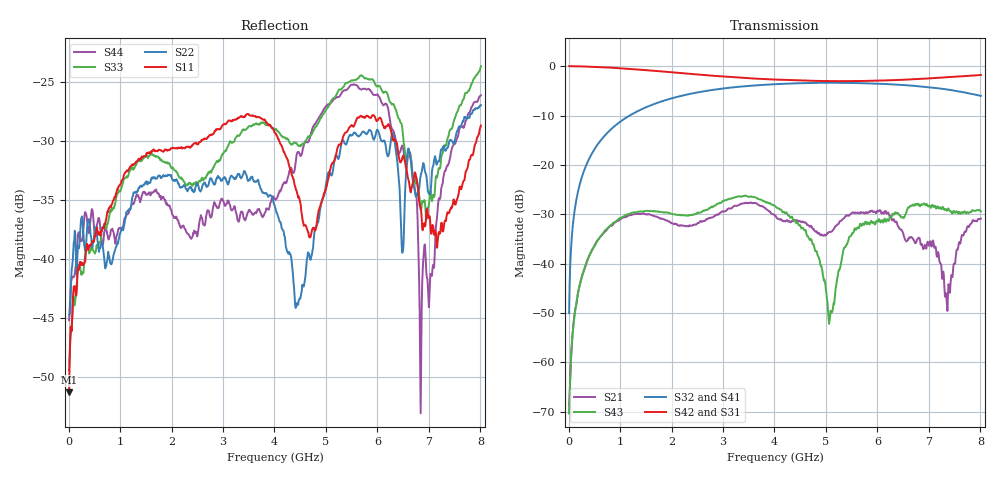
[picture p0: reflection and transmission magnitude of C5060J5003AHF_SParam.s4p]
! Port 1 = Pin 1 = Input
! Port 2 = Pin 3 = Isolated Port
! Port 3 = Pin 4 = Direct Port
! Port 4 = Pin 6 = Coupled Port
# MHZ S DB R 50
!FREQ(MHz)  !S11dB  !S11deg  !S12dB  !S12deg  !S13dB  !S13deg  !S14dB  !S14deg  !S21dB  !S21deg  !S22dB  !S22deg  !S23dB  !S23deg  !S24dB  !S24deg  !S31dB  !S31deg  !S32dB  !S32deg  !S33dB  !S33deg  !S34dB  !S34deg  !S41dB  !S41deg  !S42dB  !S42deg  !S43dB  !S43deg  !S44dB  !S44deg
!Freq  dBS11  angS11  dBS12  angS12  dBS13  angS13  dBS14  angS14
!  dBS21  angS21  dBS22  angS22  dBS23  angS23  dBS24  angS24
!  dBS31  angS31  dBS32  angS32  dBS33  angS33  dBS34  angS34
!  dBS41  angS41  dBS42  angS42  dBS43  angS43  dBS44  angS44
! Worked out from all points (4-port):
!   801 points, 10 MHz to 8.01 GHz, reference 50 ohm
!   strongest paths, dB at 10 MHz, 2.01 GHz, 4.01 GHz, 6.01 GHz, 8.01 GHz:
!     S42: 0.0, -1.2, -2.7, -2.9, -1.8
!     S31: 0.0, -1.3, -2.8, -3.0, -1.9
!     S32: -50.0, -6.5, -3.6, -3.5, -6.0
!     S41: -50.0, -6.5, -3.6, -3.6, -6.0
!     S43: -70.3, -29.9, -28.3, -31.5, -29.4
!     S21: -70.2, -31.8, -30.3, -29.3, -30.9
!   lowest |S11| = -51.3 dB at 10 MHz (marker M1), VSWR 1.01, Z = 50.3 + j0.0808 ohm
!   |S11| at or under -10 dB: start of sweep to end of sweep
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10  -51.26 17.1  -69.94 163.8  -0.01 -0.2  -50.04 84.5
    -70.19 168.0  -44.69 8.5  -50.07 84.2  0.01 -0.2
    -0.01 -0.3  -50.02 83.9  -49.39 21.4  -70.64 164.1
    -50.02 84.3  0.01 -0.2  -70.30 162.6  -45.15 11.4
300  -40.38 -1.2  -41.20 88.7  -0.08 -8.3  -21.18 80.7
     -41.34 88.6  -38.62 14.3  -21.18 80.7  -0.06 -8.3
     -0.08 -8.3  -21.17 80.7  -40.40 -3.8  -41.01 90.7
     -21.17 80.7  -0.06 -8.3  -41.20 90.2  -36.75 7.8
1110  -32.59 -119.0  -30.76 39.9  -0.51 -29.3  -10.48 59.9
      -30.55 39.5  -36.43 -134.0  -10.48 59.9  -0.49 -29.3
      -0.51 -29.3  -10.48 59.9  -33.05 -112.4  -30.29 45.3
      -10.48 59.9  -0.49 -29.3  -30.20 45.3  -36.33 -98.0
3940  -28.78 167.2  -29.02 -51.0  -2.73 -86.2  -3.69 3.6
      -29.84 -50.6  -34.62 141.7  -3.69 3.7  -2.68 -86.6
      -2.72 -86.2  -3.69 3.7  -28.83 -174.8  -27.25 -39.4
      -3.69 3.6  -2.68 -86.6  -28.01 -39.7  -35.02 -163.7
5010  -33.87 -49.1  -32.65 149.2  -3.05 -103.9  -3.36 -13.5
      -34.12 154.5  -33.41 -46.5  -3.35 -13.4  -3.01 -104.4
      -3.05 -104.0  -3.35 -13.4  -27.26 -70.7  -60.35 162.3
      -3.35 -13.5  -3.01 -104.4  -46.12 -88.9  -27.01 -70.2
6850  -35.94 72.3  -37.35 -53.2  -2.61 -135.1  -4.11 -43.4
      -36.12 -71.4  -32.71 99.0  -4.12 -43.2  -2.56 -135.5
      -2.62 -135.2  -4.11 -43.2  -35.79 -64.4  -29.17 -92.4
      -4.12 -43.5  -2.56 -135.6  -27.96 -91.8  -48.34 -106.5
8010  -28.65 -119.4  -33.50 113.8  -1.84 -158.4  -6.01 -64.9
      -30.87 107.0  -26.93 -151.8  -6.00 -64.2  -1.78 -158.9
      -1.86 -158.5  -6.01 -64.4  -23.62 -113.2  -29.54 172.7
      -6.01 -64.9  -1.78 -158.9  -29.40 154.9  -26.10 -123.9
